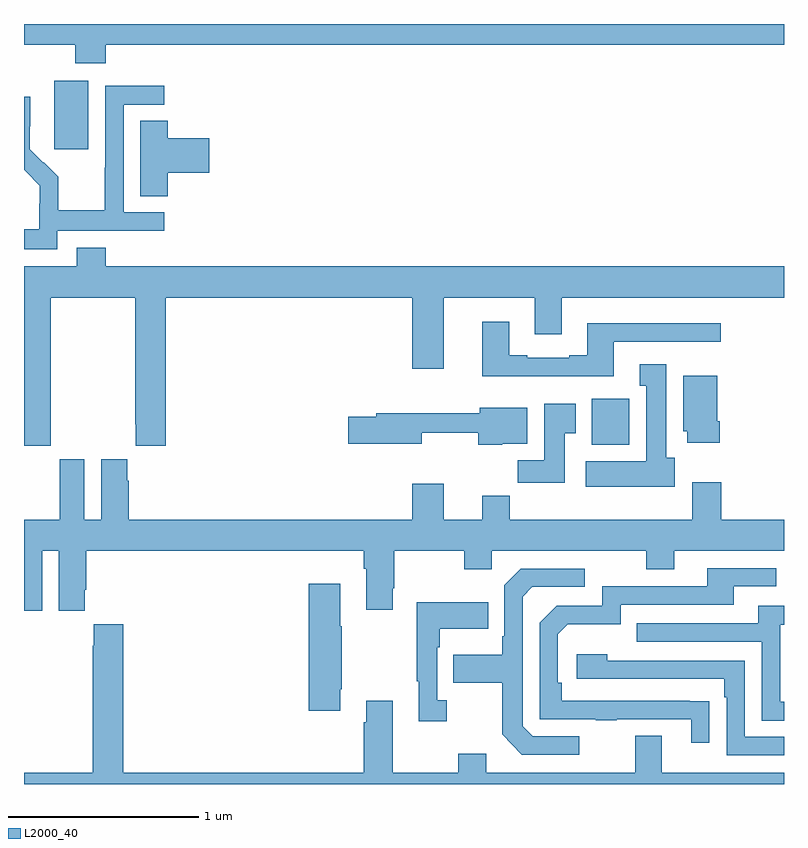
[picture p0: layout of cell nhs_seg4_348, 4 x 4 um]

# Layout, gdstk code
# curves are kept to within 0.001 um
import gdstk
lib = gdstk.Library(unit=1e-6, precision=1e-09)
def R(c, l, rs):  # rectangles x0, y0, x1, y1
    for r in rs: c.add(gdstk.rectangle(r[:2], r[2:], *l))
def P(c, l, *ps):  # polygons
    for p in ps: c.add(gdstk.Polygon(p, *l))
L2000_40 = (2000, 40)

nhs_seg4_348 = lib.new_cell('nhs_seg4_348')
R(nhs_seg4_348, L2000_40, [(129.989,822.686,130.186,822.928), (127.16,824.241,127.339,824.602)])
P(nhs_seg4_348, L2000_40, [(127.43,824.792),(131,824.792),(131,824.9),(127,824.9),(127,824.792),(127.27,824.792),(127.27,824.693),(127.43,824.693)],
  [(127.176,823.812),(127.738,823.812),(127.738,823.908),(127.524,823.908),(127.524,824.475),(127.738,824.475),(127.738,824.574),(127.428,824.574),(127.428,824.144),(127.426,824.144),(127.426,823.921),(127.181,823.921),(127.181,824.095),(127.104,824.172),(127.101,824.169),(127.031,824.24),(127.032,824.516),(127,824.516),(127,824.134),(127.009,824.125),(127.008,824.124),(127.082,824.05),(127.082,823.953),(127.08,823.953),(127.08,823.819),(127,823.819),(127,823.715),(127.176,823.715)],
  [(127.757,824.117),(127.975,824.117),(127.975,824.3),(127.757,824.3),(127.757,824.39),(127.613,824.39),(127.613,823.993),(127.757,823.993)],
  [(127.14,823.46),(127.585,823.46),(127.585,822.793),(127.589,822.793),(127.589,822.681),(127.745,822.681),(127.745,823.46),(129.044,823.46),(129.044,823.086),(129.208,823.086),(129.208,823.46),(129.689,823.46),(129.689,823.266),(129.829,823.266),(129.829,823.46),(131,823.46),(131,823.624),(127.43,823.624),(127.43,823.723),(127.277,823.723),(127.277,823.624),(127,823.624),(127,822.681),(127.14,822.681)],
  [(130.105,823.227),(130.666,823.227),(130.666,823.324),(129.965,823.324),(129.965,823.156),(129.869,823.156),(129.869,823.143),(129.649,823.143),(129.649,823.156),(129.553,823.156),(129.553,823.333),(129.413,823.333),(129.413,823.046),(130.105,823.046)],
  [(130.426,822.618),(130.381,822.618),(130.381,823.108),(130.241,823.108),(130.241,822.995),(130.274,822.995),(130.274,822.598),(129.957,822.598),(129.957,822.464),(130.426,822.464)],
  [(130.661,822.808),(130.648,822.808),(130.648,823.048),(130.469,823.048),(130.469,822.756),(130.49,822.756),(130.49,822.696),(130.661,822.696)],
  [(129.847,822.745),(129.904,822.745),(129.904,822.901),(129.737,822.901),(129.737,822.604),(129.598,822.604),(129.598,822.486),(129.847,822.486)],
  [(129.516,822.692),(129.649,822.692),(129.649,822.88),(129.398,822.88),(129.398,822.852),(128.855,822.852),(128.855,822.833),(128.706,822.833),(128.706,822.691),(129.094,822.691),(129.094,822.748),(129.391,822.748),(129.391,822.686),(129.516,822.686)],
  [(127.096,822.128),(127.184,822.128),(127.184,821.811),(127.321,821.811),(127.321,821.923),(127.328,821.923),(127.328,822.128),(128.789,822.128),(128.789,822.032),(128.801,822.032),(128.801,821.817),(128.941,821.817),(128.941,821.929),(128.949,821.929),(128.949,822.128),(129.316,822.128),(129.316,822.029),(129.462,822.029),(129.462,822.128),(130.276,822.128),(130.276,822.029),(130.423,822.029),(130.423,822.128),(131,822.128),(131,822.292),(130.67,822.292),(130.67,822.487),(130.517,822.487),(130.517,822.292),(129.557,822.292),(129.557,822.416),(129.413,822.416),(129.413,822.292),(129.208,822.292),(129.208,822.481),(129.044,822.481),(129.044,822.292),(127.55,822.292),(127.55,822.497),(127.543,822.497),(127.543,822.61),(127.406,822.61),(127.406,822.292),(127.318,822.292),(127.318,822.61),(127.187,822.61),(127.187,822.292),(127,822.292),(127,821.811),(127.096,821.811)],
  [(130.607,821.336),(129.83,821.337),(129.83,821.434),(129.81,821.434),(129.81,821.688),(129.863,821.741),(130.14,821.741),(130.14,821.844),(130.735,821.844),(130.735,821.94),(130.96,821.94),(130.96,822.036),(130.595,822.036),(130.595,821.94),(130.044,821.94),(130.044,821.838),(129.804,821.838),(129.714,821.748),(129.714,821.241),(130.009,821.241),(130.009,821.236),(130.121,821.236),(130.121,821.241),(130.511,821.241),(130.511,821.118),(130.607,821.118)],
  [(129.922,821.151),(129.678,821.151),(129.624,821.205),(129.624,821.886),(129.675,821.937),(129.952,821.937),(129.952,822.033),(129.615,822.033),(129.528,821.946),(129.528,821.677),(129.516,821.677),(129.516,821.581),(129.259,821.581),(129.259,821.434),(129.516,821.434),(129.516,821.161),(129.621,821.055),(129.922,821.055)],
  [(128.665,821.398),(128.673,821.398),(128.673,821.729),(128.665,821.729),(128.665,821.953),(128.498,821.953),(128.498,821.286),(128.665,821.286)],
  [(129.226,821.342),(129.174,821.342),(129.174,821.621),(129.187,821.621),(129.187,821.717),(129.443,821.717),(129.443,821.857),(129.066,821.857),(129.066,821.441),(129.077,821.441),(129.077,821.229),(129.226,821.229)],
  [(131,821.334),(130.98,821.334),(130.98,821.739),(131,821.739),(131,821.839),(130.865,821.839),(130.865,821.745),(130.225,821.745),(130.225,821.649),(130.884,821.649),(130.884,821.233),(131,821.233)],
  [(131,820.96),(130.357,820.96),(130.357,821.155),(130.217,821.155),(130.217,820.96),(129.433,820.96),(129.433,821.059),(129.286,821.059),(129.286,820.96),(128.941,820.96),(128.941,821.338),(128.801,821.338),(128.801,821.225),(128.789,821.225),(128.789,820.96),(127.523,820.96),(127.523,821.74),(127.367,821.74),(127.367,821.627),(127.363,821.627),(127.363,820.96),(127,820.96),(127,820.9),(131,820.9)],
  [(131,821.148),(130.794,821.148),(130.794,821.55),(130.07,821.55),(130.07,821.584),(129.909,821.584),(129.909,821.454),(130.685,821.454),(130.685,821.357),(130.698,821.357),(130.698,821.052),(131,821.052)])

lib.write_gds('nhs_seg4_348.gds')
